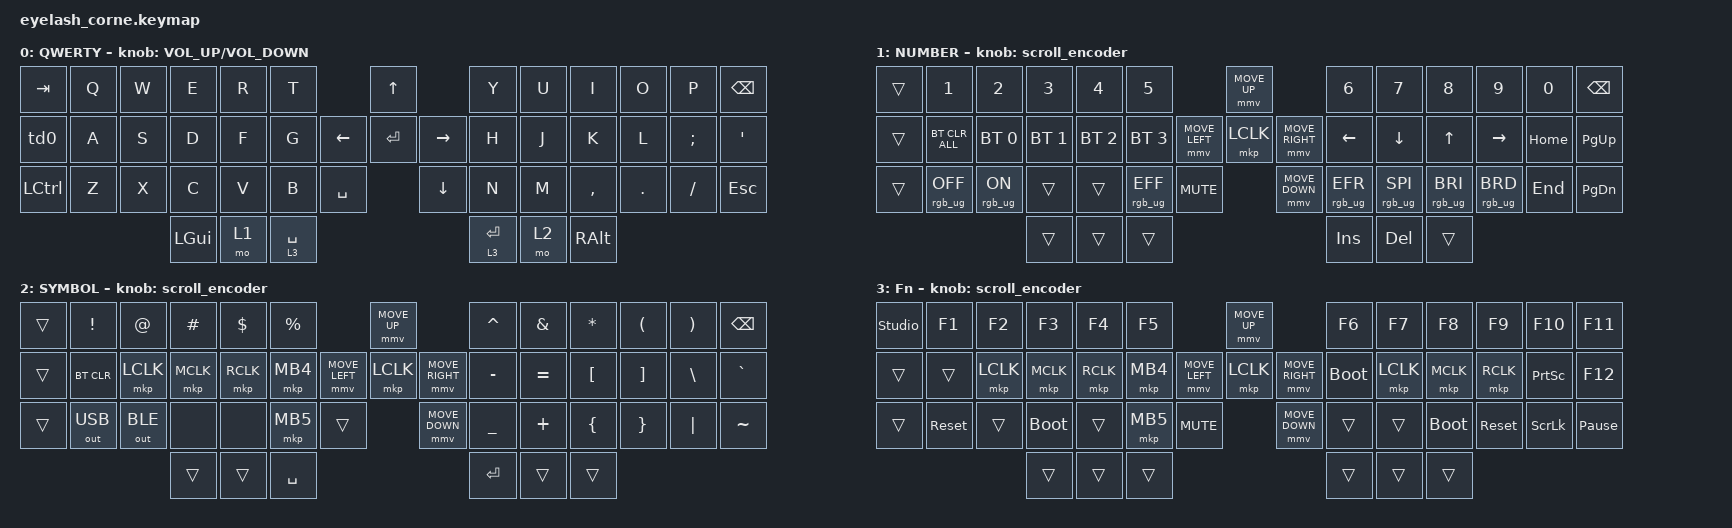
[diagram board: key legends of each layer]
#define ZMK_POINTING_DEFAULT_MOVE_VAL 1200  // 600
#define ZMK_POINTING_DEFAULT_SCRL_VAL 25   // 10

#include <input/processors.dtsi>
#include <zephyr/dt-bindings/input/input-event-codes.h>
#include <behaviors.dtsi>
#include <dt-bindings/zmk/bt.h>
#include <dt-bindings/zmk/keys.h>
#include <dt-bindings/zmk/outputs.h>
#include <dt-bindings/zmk/pointing.h>
#include <dt-bindings/zmk/rgb.h>

&mmv_input_listener { input-processors = <&zip_xy_scaler 2 1>; };

&msc_input_listener { input-processors = <&zip_scroll_scaler 2 1>; };

&msc {
    acceleration-exponent = <1>;      // 0
    time-to-max-speed-ms = <100>;       // 300
    delay-ms = <0>;                   // 0
};

&mmv {
    time-to-max-speed-ms = <500>;
    acceleration-exponent = <1>;
    trigger-period-ms = <16>;
};

&soft_off { hold-time-ms = <2000>; };

/ {
    behaviors {
        td0: td0 {
            compatible = "zmk,behavior-tap-dance";
            display-name = "Shift/Caps Lock Tap Dance";
            #binding-cells = <0>;
            bindings = <&kp LEFT_SHIFT>, <&kp CAPS>;
        };
    };

    rgb_encoder: rgb_encoder {
        compatible = "zmk,behavior-sensor-rotate";
        #sensor-binding-cells = <0>;
        bindings = <&rgb_ug RGB_BRI>, <&rgb_ug RGB_BRD>;
    };

    scroll_encoder: scroll_encoder {
        compatible = "zmk,behavior-sensor-rotate";
        #sensor-binding-cells = <0>;
        bindings = <&msc SCRL_DOWN>, <&msc SCRL_UP>;

        tap-ms = <100>;
    };

    combos {
        compatible = "zmk,combos";

        softoff {
            bindings = <&soft_off>;
            key-positions = <1 15 29>;
        };

        Minus {
            bindings = <&kp MINUS>;
            key-positions = <18 33>;
        };

        Equal {
            bindings = <&kp EQUAL>;
            key-positions = <22 36>;
        };

        Number_1 {
            bindings = <&kp NUMBER_1>;
            key-positions = <1 14>;
        };

        Number_2 {
            bindings = <&kp NUMBER_2>;
            key-positions = <2 15>;
        };

        Number_3 {
            bindings = <&kp NUMBER_3>;
            key-positions = <3 16>;
        };

        Number_4 {
            bindings = <&kp NUMBER_4>;
            key-positions = <4 17>;
        };

        Number_5 {
            bindings = <&kp NUMBER_5>;
            key-positions = <5 18>;
        };

        Number_6 {
            bindings = <&kp NUMBER_6>;
            key-positions = <7 22>;
        };

        Number_7 {
            bindings = <&kp NUMBER_7>;
            key-positions = <8 23>;
        };

        Number_8 {
            bindings = <&kp NUMBER_8>;
            key-positions = <9 24>;
        };

        Number_9 {
            bindings = <&kp NUMBER_9>;
            key-positions = <10 25>;
        };

        Number_0 {
            bindings = <&kp NUMBER_0>;
            key-positions = <11 26>;
        };
    };

    keymap {
        compatible = "zmk,keymap";

        default_layer {
            display-name = "QWERTY";
            bindings = <
&kp TAB    &kp Q  &kp W  &kp E     &kp R  &kp T                               &kp UP                &kp Y        &kp U  &kp I      &kp O    &kp P     &kp BSPC
&td0       &kp A  &kp S  &kp D     &kp F  &kp G                     &kp LEFT  &kp ENTER  &kp RIGHT  &kp H        &kp J  &kp K      &kp L    &kp SEMI  &kp SQT
&kp LCTRL  &kp Z  &kp X  &kp C     &kp V  &kp B        &kp SPACE              &kp DOWN              &kp N        &kp M  &kp COMMA  &kp DOT  &kp FSLH  &kp ESC
                         &kp LGUI  &mo 1  &lt 3 SPACE                                               &lt 3 ENTER  &mo 2  &kp RALT
            >;

            sensor-bindings = <&inc_dec_kp C_VOLUME_UP C_VOLUME_DOWN>;
        };

        lower_layer {
            display-name = "NUMBER";
            bindings = <
&trans  &kp N1           &kp N2          &kp N3        &kp N4        &kp N5                                         &mmv MOVE_UP                     &kp N6           &kp N7           &kp N8           &kp N9           &kp N0    &kp BSPC
&trans  &bt BT_CLR_ALL   &bt BT_SEL 0    &bt BT_SEL 1  &bt BT_SEL 2  &bt BT_SEL 3                   &mmv MOVE_LEFT  &mkp LCLK       &mmv MOVE_RIGHT  &kp LEFT         &kp DOWN         &kp UP           &kp RIGHT        &kp HOME  &kp PG_UP
&trans  &rgb_ug RGB_OFF  &rgb_ug RGB_ON  &trans        &trans        &rgb_ug RGB_EFF  &kp C_MUTE                    &mmv MOVE_DOWN                   &rgb_ug RGB_EFR  &rgb_ug RGB_SPI  &rgb_ug RGB_BRI  &rgb_ug RGB_BRD  &kp END   &kp PG_DN
                                         &trans        &trans        &trans                                                                          &kp INS          &kp DEL          &trans
            >;

            sensor-bindings = <&scroll_encoder>;
        };

        raise_layer {
            display-name = "SYMBOL";
            bindings = <
&trans  &kp EXCL      &kp AT        &kp HASH   &kp DLLR   &kp PRCNT                            &mmv MOVE_UP                     &kp CARET  &kp AMPS   &kp ASTRK  &kp LPAR  &kp RPAR  &kp BSPC
&trans  &bt BT_CLR    &mkp LCLK     &mkp MCLK  &mkp RCLK  &mkp MB4             &mmv MOVE_LEFT  &mkp LCLK       &mmv MOVE_RIGHT  &kp MINUS  &kp EQUAL  &kp LBKT   &kp RBKT  &kp BSLH  &kp GRAVE
&trans  &out OUT_USB  &out OUT_BLE  &none      &none      &mkp MB5   &trans                    &mmv MOVE_DOWN                   &kp UNDER  &kp PLUS   &kp LBRC   &kp RBRC  &kp PIPE  &kp TILDE
                                    &trans     &trans     &kp SPACE                                                             &kp RET    &trans     &trans
            >;

            sensor-bindings = <&scroll_encoder>;
        };

        layer_3 {
            display-name = "Fn";
            bindings = <
&studio_unlock  &kp F1      &kp F2     &kp F3       &kp F4     &kp F5                                  &mmv MOVE_UP                     &kp F6       &kp F7     &kp F8       &kp F9      &kp F10          &kp F11
&trans          &trans      &mkp LCLK  &mkp MCLK    &mkp RCLK  &mkp MB4                &mmv MOVE_LEFT  &mkp LCLK       &mmv MOVE_RIGHT  &bootloader  &mkp LCLK  &mkp MCLK    &mkp RCLK   &kp PRINTSCREEN  &kp F12
&trans          &sys_reset  &trans     &bootloader  &trans     &mkp MB5  &kp C_MUTE                    &mmv MOVE_DOWN                   &trans       &trans     &bootloader  &sys_reset  &kp SCROLLLOCK   &kp PAUSE_BREAK
                                       &trans       &trans     &trans                                                                   &trans       &trans     &trans
            >;

            sensor-bindings = <&scroll_encoder>;
        };
    };
};
